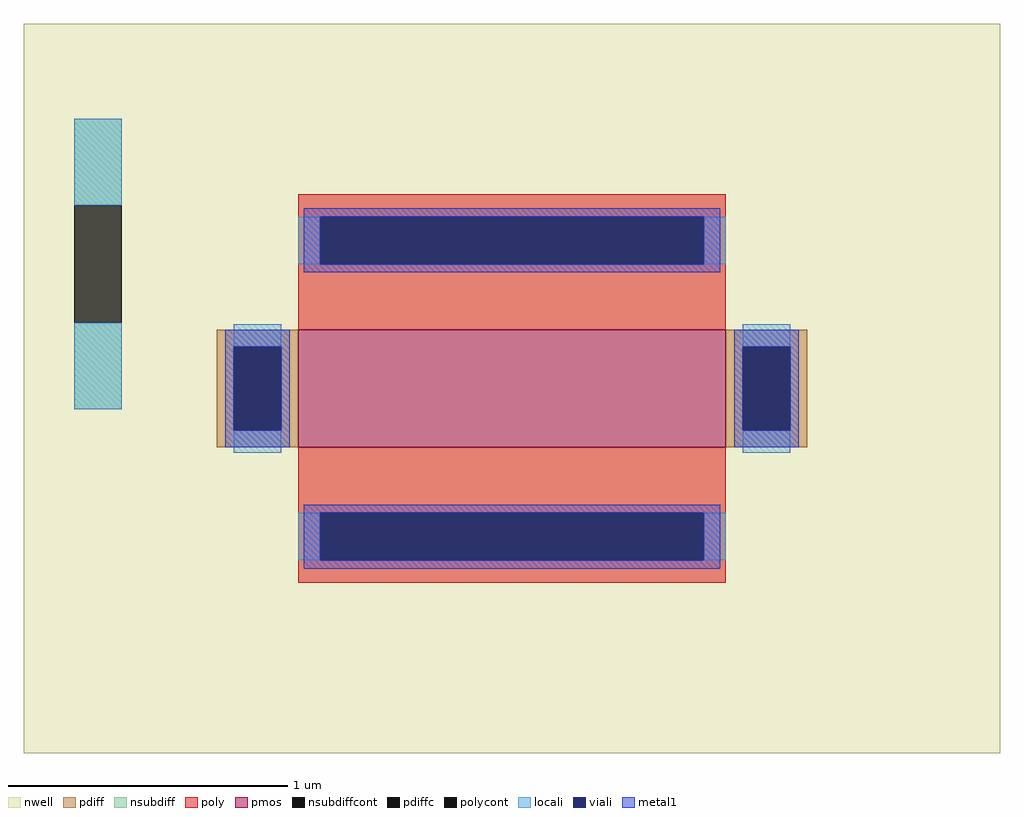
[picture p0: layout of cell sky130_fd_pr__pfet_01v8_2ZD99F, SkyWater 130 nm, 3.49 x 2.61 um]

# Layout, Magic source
magic
tech sky130A
magscale 1 2
<< nwell >>
rect -349 -261 349 261
<< pmos >>
rect -153 -42 153 42
<< pdiff >>
rect -211 30 -153 42
rect -211 -30 -199 30
rect -165 -30 -153 30
rect -211 -42 -153 -30
rect 153 30 211 42
rect 153 -30 165 30
rect 199 -30 211 30
rect 153 -42 211 -30
<< pdiffc >>
rect -199 -30 -165 30
rect 165 -30 199 30
<< nsubdiff >>
rect -313 131 -279 193
rect -313 -15 -279 47
<< nsubdiffcont >>
rect -313 47 -279 131
<< poly >>
rect -153 123 153 139
rect -153 89 -137 123
rect 137 89 153 123
rect -153 42 153 89
rect -153 -89 153 -42
rect -153 -123 -137 -89
rect 137 -123 153 -89
rect -153 -139 153 -123
<< polycont >>
rect -137 89 137 123
rect -137 -123 137 -89
<< locali >>
rect -313 131 -279 193
rect -153 89 -137 123
rect 137 89 153 123
rect -313 -15 -279 47
rect -199 30 -165 46
rect -199 -46 -165 -30
rect 165 30 199 46
rect 165 -46 199 -30
rect -153 -123 -137 -89
rect 137 -123 153 -89
<< viali >>
rect -137 89 137 123
rect -199 -30 -165 30
rect 165 -30 199 30
rect -137 -123 137 -89
<< metal1 >>
rect -149 123 149 129
rect -149 89 -137 123
rect 137 89 149 123
rect -149 83 149 89
rect -205 30 -159 42
rect -205 -30 -199 30
rect -165 -30 -159 30
rect -205 -42 -159 -30
rect 159 30 205 42
rect 159 -30 165 30
rect 199 -30 205 30
rect 159 -42 205 -30
rect -149 -89 149 -83
rect -149 -123 -137 -89
rect 137 -123 149 -89
rect -149 -129 149 -123
<< properties >>
string FIXED_BBOX -296 -208 296 208
string gencell sky130_fd_pr__pfet_01v8
string library sky130
string parameters w 0.42 l 1.53 m 1 nf 1 diffcov 100 polycov 100 guard 1 glc 1 grc 1 gtc 1 gbc 1 tbcov 100 rlcov 100 topc 1 botc 1 poverlap 0 doverlap 1 lmin 0.15 wmin 0.42 compatible {sky130_fd_pr__pfet_01v8  sky130_fd_pr__pfet_01v8_lvt sky130_fd_pr__pfet_01v8_hvt  sky130_fd_pr__pfet_g5v0d10v5} full_metal 1 viasrc 100 viadrn 100 viagate 100 viagb 0 viagr 0 viagl 0 viagt 0
<< end >>
